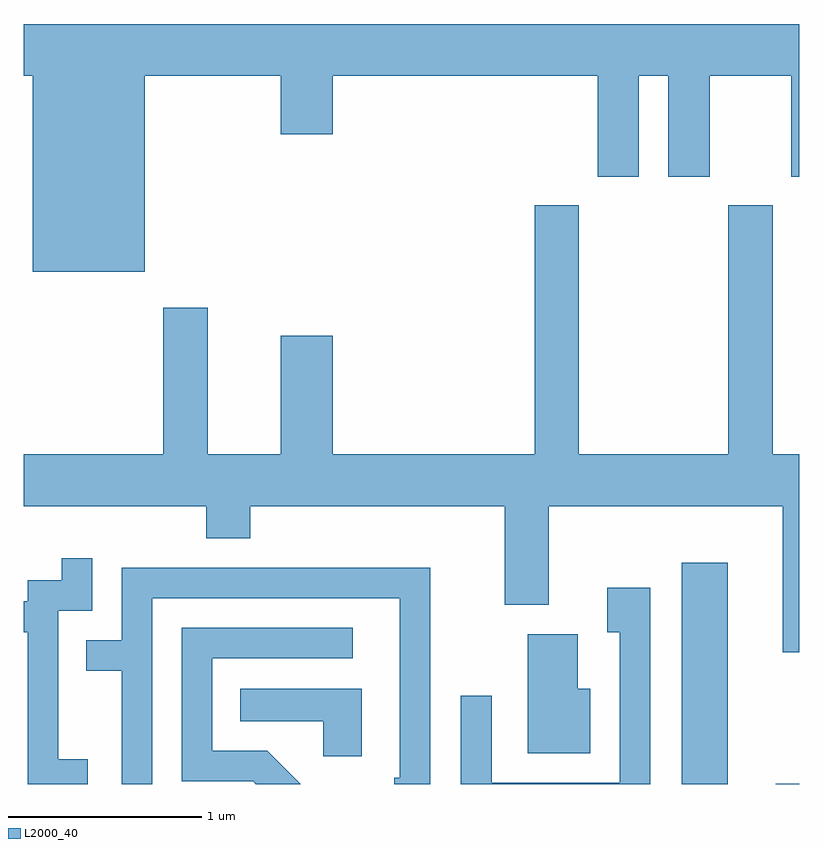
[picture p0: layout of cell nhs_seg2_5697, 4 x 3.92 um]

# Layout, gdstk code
import gdstk
lib = gdstk.Library(unit=1e-6, precision=1e-09)
def R(c, l, rs):  # rectangles x0, y0, x1, y1
    for r in rs: c.add(gdstk.rectangle(r[:2], r[2:], *l))
def P(c, l, *ps):  # polygons
    for p in ps: c.add(gdstk.Polygon(p, *l))
L2000_40 = (2000, 40)

nhs_seg2_5697 = lib.new_cell('nhs_seg2_5697')
R(nhs_seg2_5697, L2000_40, [(357.006,1015.802,357.244,1016.944), (357.491,1015.802,357.611,1015.804)])
P(nhs_seg2_5697, L2000_40, [(354.234,1019.456),(354.936,1019.456),(354.936,1019.156),(355.204,1019.156),(355.204,1019.456),(356.571,1019.456),(356.571,1018.936),(356.784,1018.936),(356.784,1019.456),(356.936,1019.456),(356.936,1018.936),(357.149,1018.936),(357.149,1019.456),(357.571,1019.456),(357.571,1018.936),(357.611,1018.936),(357.611,1019.724),(353.611,1019.724),(353.611,1019.456),(353.656,1019.456),(353.656,1018.446),(354.234,1018.446)],
  [(357.611,1017.504),(357.474,1017.504),(357.474,1018.789),(357.246,1018.789),(357.246,1017.504),(356.474,1017.504),(356.474,1018.789),(356.246,1018.789),(356.246,1017.504),(355.204,1017.504),(355.204,1018.114),(354.936,1018.114),(354.936,1017.504),(354.559,1017.504),(354.559,1018.259),(354.331,1018.259),(354.331,1017.504),(353.611,1017.504),(353.611,1017.236),(354.551,1017.236),(354.551,1017.071),(354.779,1017.071),(354.779,1017.236),(356.091,1017.236),(356.091,1016.726),(356.319,1016.726),(356.319,1017.236),(357.526,1017.236),(357.526,1016.483),(357.611,1016.483)],
  [(353.939,1015.929),(353.789,1015.929),(353.789,1016.696),(353.964,1016.696),(353.964,1016.968),(353.806,1016.968),(353.806,1016.854),(353.631,1016.854),(353.631,1016.744),(353.611,1016.744),(353.611,1016.586),(353.631,1016.586),(353.631,1015.802),(353.939,1015.802)],
  [(354.274,1016.761),(355.551,1016.761),(355.551,1015.834),(355.521,1015.834),(355.521,1015.802),(355.709,1015.802),(355.709,1016.919),(354.116,1016.919),(354.116,1016.544),(353.933,1016.544),(353.933,1016.386),(354.116,1016.386),(354.116,1015.802),(354.274,1015.802)],
  [(356.844,1016.814),(356.621,1016.814),(356.621,1016.586),(356.686,1016.586),(356.686,1015.809),(356.024,1015.809),(356.024,1016.258),(355.866,1016.258),(355.866,1015.802),(356.844,1015.802)],
  [(354.867,1015.974),(354.584,1015.974),(354.584,1016.451),(355.308,1016.451),(355.308,1016.609),(354.426,1016.609),(354.426,1015.816),(354.794,1015.816),(354.808,1015.802),(355.039,1015.802)],
  [(356.534,1016.294),(356.469,1016.294),(356.469,1016.574),(356.211,1016.574),(356.211,1015.961),(356.534,1015.961)],
  [(355.354,1016.294),(354.728,1016.294),(354.728,1016.126),(355.156,1016.126),(355.156,1015.946),(355.354,1015.946)])

lib.write_gds('nhs_seg2_5697.gds')
